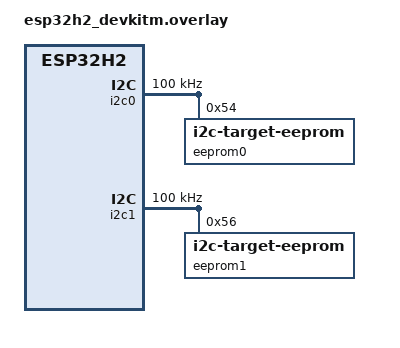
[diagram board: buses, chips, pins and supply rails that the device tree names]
/*
 * Copyright (c) 2026 Espressif Systems (Shanghai) Co., Ltd.
 *
 * SPDX-License-Identifier: Apache-2.0
 *
 * External-loopback overlay for the i2c_target_api dual-role test.
 *
 * Wire up two physical jumpers on the devkit:
 *   GPIO22 (i2c0 SDA) <-> GPIO12 (i2c1 SDA)
 *   GPIO27 (i2c0 SCL) <-> GPIO11 (i2c1 SCL)
 *
 * The two controllers act as master and target on the same bus, with one
 * physical pair shared via the jumper. Internal pull-ups are enabled; an
 * external 4.7k pull-up to 3V3 on each line is recommended for reliable
 * operation above 100 kHz.
 */

&pinctrl {
	i2c0_default: i2c0_default {
		group1 {
			pinmux = <I2C0_SDA_GPIO22>,
				 <I2C0_SCL_GPIO27>;
			bias-pull-up;
			drive-open-drain;
			output-high;
		};
	};

	i2c1_default: i2c1_default {
		group1 {
			pinmux = <I2C1_SDA_GPIO12>,
				 <I2C1_SCL_GPIO11>;
			bias-pull-up;
			drive-open-drain;
			output-high;
		};
	};
};

&i2c0 {
	status = "okay";
	clock-frequency = <I2C_BITRATE_STANDARD>;
	pinctrl-0 = <&i2c0_default>;
	pinctrl-names = "default";

	eeprom0: eeprom@54 {
		compatible = "zephyr,i2c-target-eeprom";
		reg = <0x54>;
		size = <256>;
	};
};

&i2c1 {
	status = "okay";
	clock-frequency = <I2C_BITRATE_STANDARD>;
	pinctrl-0 = <&i2c1_default>;
	pinctrl-names = "default";

	eeprom1: eeprom@56 {
		compatible = "zephyr,i2c-target-eeprom";
		reg = <0x56>;
		size = <256>;
	};
};
